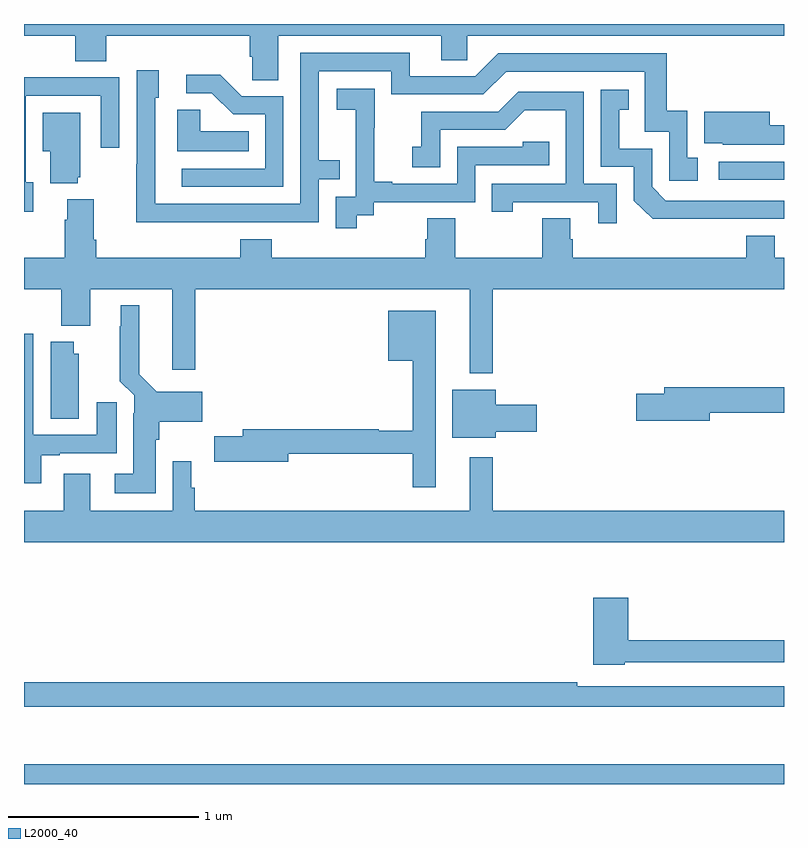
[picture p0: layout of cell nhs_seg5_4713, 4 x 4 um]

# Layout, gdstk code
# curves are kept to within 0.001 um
import gdstk
lib = gdstk.Library(unit=1e-6, precision=1e-09)
def R(c, l, rs):  # rectangles x0, y0, x1, y1
    for r in rs: c.add(gdstk.rectangle(r[:2], r[2:], *l))
def P(c, l, *ps):  # polygons
    for p in ps: c.add(gdstk.Polygon(p, *l))
L2000_40 = (2000, 40)

nhs_seg5_4713 = lib.new_cell('nhs_seg5_4713')
R(nhs_seg5_4713, L2000_40, [(387,876.799,391,876.904), (390.657,879.978,391,880.074)])
P(nhs_seg5_4713, L2000_40, [(388.339,880.736),(389.195,880.736),(389.195,880.609),(389.334,880.609),(389.334,880.736),(391,880.736),(391,880.799),(387,880.799),(387,880.736),(387.269,880.736),(387.269,880.603),(387.434,880.603),(387.434,880.736),(388.187,880.736),(388.187,880.627),(388.2,880.627),(388.2,880.504),(388.339,880.504)],
  [(388.055,879.756),(388.551,879.756),(388.551,879.981),(388.661,879.981),(388.661,880.082),(388.551,880.082),(388.551,880.551),(388.932,880.551),(388.932,880.428),(389.418,880.428),(389.538,880.548),(390.267,880.548),(390.267,880.233),(390.396,880.233),(390.396,879.975),(390.547,879.975),(390.547,880.095),(390.492,880.095),(390.492,880.342),(390.383,880.342),(390.383,880.644),(389.496,880.644),(389.376,880.524),(389.029,880.524),(389.029,880.647),(388.455,880.647),(388.455,879.852),(387.69,879.852),(387.69,880.41),(387.709,880.41),(387.709,880.555),(387.594,880.555),(387.594,880.061),(387.592,880.061),(387.592,879.755)],
  [(388.365,880.419),(388.146,880.419),(388.033,880.532),(387.855,880.532),(387.855,880.434),(387.989,880.434),(388.1,880.323),(388.269,880.323),(388.269,880.038),(387.831,880.038),(387.831,879.942),(388.365,879.942)],
  [(387.049,879.966),(387.009,879.966),(387.009,880.422),(387.405,880.422),(387.405,880.149),(387.501,880.149),(387.501,880.518),(387.185,880.518),(387.185,880.52),(387,880.52),(387,879.81),(387.049,879.81)],
  [(388.75,879.793),(388.842,879.793),(388.842,879.861),(389.376,879.861),(389.376,880.056),(389.765,880.056),(389.765,880.179),(389.625,880.179),(389.625,880.152),(389.28,880.152),(389.28,879.957),(388.939,879.957),(388.939,879.97),(388.844,879.97),(388.844,880.253),(388.845,880.253),(388.845,880.459),(388.647,880.459),(388.647,880.349),(388.745,880.349),(388.745,880.121),(388.746,880.121),(388.746,879.891),(388.641,879.891),(388.641,879.723),(388.75,879.723)],
  [(390.716,879.774),(391,879.774),(391,879.87),(390.378,879.87),(390.306,879.942),(390.306,880.143),(390.133,880.143),(390.133,880.347),(390.182,880.347),(390.182,880.453),(390.036,880.453),(390.036,880.047),(390.21,880.047),(390.21,879.87),(390.308,879.773)],
  [(390.12,879.957),(389.946,879.957),(389.946,880.443),(389.6,880.443),(389.495,880.338),(389.092,880.338),(389.092,880.153),(389.043,880.153),(389.043,880.044),(389.19,880.044),(389.19,880.242),(389.532,880.242),(389.636,880.346),(389.85,880.346),(389.85,879.957),(389.461,879.957),(389.461,879.81),(389.572,879.81),(389.572,879.861),(390.023,879.861),(390.023,879.75),(390.12,879.75)],
  [(388.184,880.234),(387.927,880.234),(387.927,880.349),(387.806,880.349),(387.806,880.13),(388.184,880.13)],
  [(391,880.267),(390.925,880.267),(390.925,880.336),(390.581,880.336),(390.581,880.172),(390.678,880.172),(390.678,880.163),(391,880.163)],
  [(387.284,879.993),(387.295,879.993),(387.295,880.333),(387.098,880.333),(387.098,880.13),(387.137,880.13),(387.137,879.962),(387.284,879.962)],
  [(389.467,879.404),(391,879.404),(391,879.568),(390.952,879.568),(390.952,879.685),(390.8,879.685),(390.8,879.568),(389.888,879.568),(389.888,879.666),(389.875,879.666),(389.875,879.776),(389.728,879.776),(389.728,879.568),(389.271,879.568),(389.271,879.776),(389.123,879.776),(389.123,879.666),(389.111,879.666),(389.111,879.568),(388.304,879.568),(388.304,879.667),(388.139,879.667),(388.139,879.568),(387.38,879.568),(387.38,879.664),(387.367,879.664),(387.367,879.877),(387.227,879.877),(387.227,879.77),(387.215,879.77),(387.215,879.568),(387,879.568),(387,879.404),(387.197,879.404),(387.197,879.212),(387.349,879.212),(387.349,879.404),(387.779,879.404),(387.779,878.979),(387.902,878.979),(387.902,879.404),(389.345,879.404),(389.345,878.96),(389.467,878.96)],
  [(387.694,878.61),(387.712,878.61),(387.712,878.705),(387.937,878.705),(387.937,878.863),(387.699,878.863),(387.607,878.956),(387.607,879.319),(387.509,879.319),(387.509,879.209),(387.505,879.209),(387.505,878.918),(387.579,878.844),(387.579,878.75),(387.575,878.75),(387.575,878.431),(387.477,878.431),(387.477,878.33),(387.694,878.33)],
  [(389.167,879.289),(388.916,879.289),(388.916,879.026),(389.046,879.026),(389.046,878.659),(388.867,878.659),(388.867,878.666),(388.151,878.666),(388.151,878.63),(388.002,878.63),(388.002,878.495),(388.39,878.495),(388.39,878.538),(389.046,878.538),(389.046,878.361),(389.167,878.361)],
  [(387.091,878.529),(387.187,878.529),(387.187,878.541),(387.487,878.541),(387.487,878.809),(387.383,878.809),(387.383,878.637),(387.049,878.637),(387.049,879.169),(387,879.169),(387,878.382),(387.091,878.382)],
  [(387.289,879.063),(387.262,879.063),(387.262,879.127),(387.14,879.127),(387.14,878.722),(387.289,878.722)],
  [(390.61,878.752),(391,878.752),(391,878.888),(390.371,878.888),(390.371,878.852),(390.222,878.852),(390.222,878.71),(390.61,878.71)],
  [(389.482,878.653),(389.698,878.653),(389.698,878.795),(389.482,878.795),(389.482,878.875),(389.255,878.875),(389.255,878.621),(389.482,878.621)],
  [(391,878.236),(389.467,878.236),(389.467,878.518),(389.345,878.518),(389.345,878.236),(387.899,878.236),(387.899,878.358),(387.879,878.358),(387.879,878.497),(387.783,878.497),(387.783,878.236),(387.349,878.236),(387.349,878.431),(387.209,878.431),(387.209,878.236),(387,878.236),(387,878.072),(391,878.072)],
  [(390.162,877.44),(391,877.44),(391,877.556),(390.179,877.556),(390.179,877.78),(389.996,877.78),(389.996,877.427),(390.162,877.427)],
  [(391,877.314),(389.912,877.314),(389.912,877.334),(387,877.334),(387,877.206),(391,877.206)])

lib.write_gds('nhs_seg5_4713.gds')
